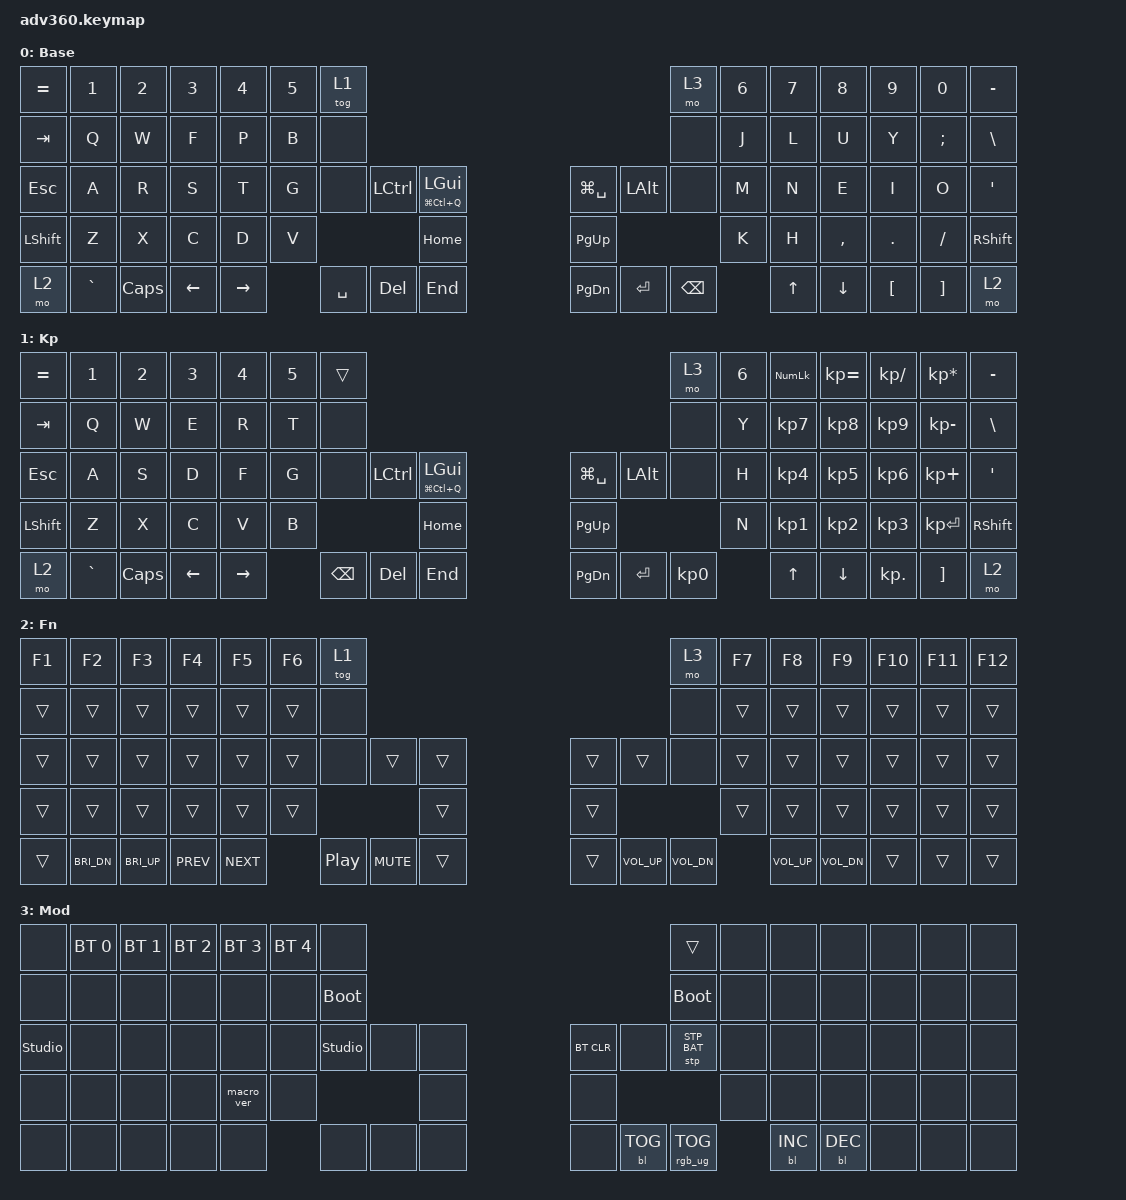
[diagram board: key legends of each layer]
#include <dt-bindings/zmk/stp.h>
#include <behaviors.dtsi>
#include <dt-bindings/zmk/backlight.h>
#include <dt-bindings/zmk/bt.h>
#include <dt-bindings/zmk/keys.h>
#include <dt-bindings/zmk/rgb.h>

/ {
    behaviors {
        #include "macros.dtsi"
      #include "version.dtsi"

        hm: homerow_mods {
            compatible = "zmk,behavior-hold-tap";
            label = "HOMEROW_MODS";
            #binding-cells = <2>;
            tapping-term-ms = <200>;
            quick_tap_ms = <175>;
            flavor = "tap-preferred";
            bindings = <&kp>, <&kp>;
        };

        command_lock: command_lock {
            compatible = "zmk,behavior-tap-dance";
            label = "COMMAND_LOCK";
            #binding-cells = <0>;
            bindings = <&kp LEFT_GUI>, <&kp LC(LG(Q))>;
        };

        Lock_and_Command: Lock_and_Command {
            compatible = "zmk,behavior-hold-tap";
            label = "LOCK_AND_COMMAND";
            bindings = <&kp>, <&kp>;

            #binding-cells = <2>;
            tapping-term-ms = <200>;
            flavor = "tap-preferred";
        };
    };

    keymap {
        compatible = "zmk,keymap";

        default_layer {
            display-name = "Base";
            bindings = <
&kp EQUAL  &kp N1     &kp N2    &kp N3    &kp N4     &kp N5  &tog 1                                                                                    &mo 3          &kp N6  &kp N7  &kp N8     &kp N9    &kp N0    &kp MINUS
&kp TAB    &kp Q      &kp W     &kp F     &kp P      &kp B   &none                                                                                     &none          &kp J   &kp L   &kp U      &kp Y     &kp SEMI  &kp BSLH
&kp ESC    &kp A      &kp R     &kp S     &kp T      &kp G   &none      &kp LCTRL  &Lock_and_Command LG(LC(Q)) LEFT_GUI      &kp LG(SPACE)  &kp LALT   &none          &kp M   &kp N   &kp E      &kp I     &kp O     &kp SQT
&kp LSHFT  &kp Z      &kp X     &kp C     &kp D      &kp V                         &kp HOME                                  &kp PG_UP                                &kp K   &kp H   &kp COMMA  &kp DOT   &kp FSLH  &kp RSHFT
&mo 2      &kp GRAVE  &kp CAPS  &kp LEFT  &kp RIGHT          &kp SPACE  &kp DEL    &kp END                                   &kp PG_DN      &kp ENTER  &kp BACKSPACE          &kp UP  &kp DOWN   &kp LBKT  &kp RBKT  &mo 2
            >;
        };

        keypad {
            display-name = "Kp";
            bindings = <
&kp EQUAL  &kp N1     &kp N2    &kp N3    &kp N4     &kp N5  &trans                                                                                      &mo 3      &kp N6  &kp KP_NUM  &kp KP_EQUAL  &kp KP_DIVIDE  &kp KP_MULTIPLY  &kp MINUS
&kp TAB    &kp Q      &kp W     &kp E     &kp R      &kp T   &none                                                                                       &none      &kp Y   &kp KP_N7   &kp KP_N8     &kp KP_N9      &kp KP_MINUS     &kp BSLH
&kp ESC    &kp A      &kp S     &kp D     &kp F      &kp G   &none     &kp LCTRL  &Lock_and_Command LG(LC(Q)) LEFT_GUI      &kp LG(SPACE)  &kp LEFT_ALT  &none      &kp H   &kp KP_N4   &kp KP_N5     &kp KP_N6      &kp KP_PLUS      &kp SQT
&kp LSHFT  &kp Z      &kp X     &kp C     &kp V      &kp B                        &kp HOME                                  &kp PG_UP                               &kp N   &kp KP_N1   &kp KP_N2     &kp KP_N3      &kp KP_ENTER     &kp RSHFT
&mo 2      &kp GRAVE  &kp CAPS  &kp LEFT  &kp RIGHT          &kp BSPC  &kp DEL    &kp END                                   &kp PG_DN      &kp ENTER     &kp KP_N0          &kp UP      &kp DOWN      &kp KP_DOT     &kp RBKT         &mo 2
            >;
        };

        fn {
            display-name = "Fn";
            bindings = <
&kp F1  &kp F2        &kp F3        &kp F4      &kp F5      &kp F6  &tog 1                                                  &mo 3         &kp F7  &kp F8        &kp F9        &kp F10  &kp F11  &kp F12
&trans  &trans        &trans        &trans      &trans      &trans  &none                                                   &none         &trans  &trans        &trans        &trans   &trans   &trans
&trans  &trans        &trans        &trans      &trans      &trans  &none     &trans      &trans      &trans  &trans        &none         &trans  &trans        &trans        &trans   &trans   &trans
&trans  &trans        &trans        &trans      &trans      &trans                        &trans      &trans                              &trans  &trans        &trans        &trans   &trans   &trans
&trans  &kp C_BRI_DN  &kp C_BRI_UP  &kp C_PREV  &kp C_NEXT          &kp C_PP  &kp C_MUTE  &trans      &trans  &kp C_VOL_UP  &kp C_VOL_DN          &kp C_VOL_UP  &kp C_VOL_DN  &trans   &trans   &trans
            >;
        };

        mod {
            display-name = "Mod";
            bindings = <
&none           &bt BT_SEL 0  &bt BT_SEL 1  &bt BT_SEL 2  &bt BT_SEL 3  &bt BT_SEL 4  &none                                                     &trans           &none  &none       &none       &none  &none  &none
&none           &none         &none         &none         &none         &none         &bootloader                                               &bootloader      &none  &none       &none       &none  &none  &none
&studio_unlock  &none         &none         &none         &none         &none         &studio_unlock  &none  &none      &bt BT_CLR  &none       &stp STP_BAT     &none  &none       &none       &none  &none  &none
&none           &none         &none         &none         &macro_ver    &none                                &none      &none                                    &none  &none       &none       &none  &none  &none
&none           &none         &none         &none         &none                       &none           &none  &none      &none       &bl BL_TOG  &rgb_ug RGB_TOG         &bl BL_INC  &bl BL_DEC  &none  &none  &none
            >;
        };

        extra1 {
            display-name = "Red";
            status = "reserved";
        };

        extra2 {
            display-name = "Purple";
            status = "reserved";
        };

        extra3 {
            display-name = "Cyan";
            status = "reserved";
        };

        extra4 {
            display-name = "Yellow";
            status = "reserved";
        };
    };
};
